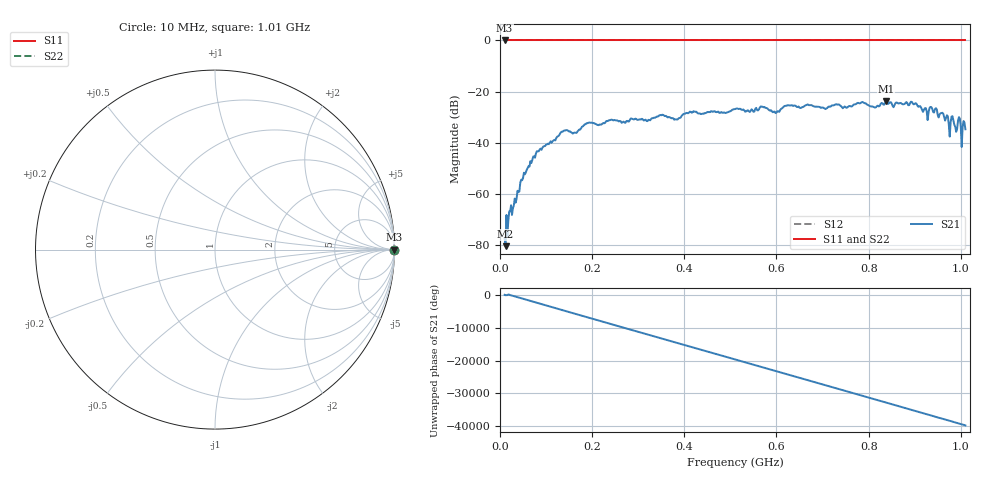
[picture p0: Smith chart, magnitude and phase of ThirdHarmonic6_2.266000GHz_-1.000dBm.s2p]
! 8/17/2025 2:50:06 AM
! C:\ANRITSUVNA\TEMP\TEMP.S2P
! CHANNEL.1
! TR.MEASUREMENT
! RAW.DATA
! RF.CORRECTION.OFF
! AVERAGING.OFF
! IF.BANDWIDTH: 5KHZ
! SWEEPTYPE:  FREQ.SWEEP(Linear)
! Reference Plane Port Info
! PORT:  PORT1  PORT2
! DISTANCE:  0  m  0  m
! TIME:  0  s  0  s
! PHASE.OFFSET:  0  deg.  0  deg.
! LOSS:  0  dB  0  dB
! REF.LOSS:  0  dB  0  dB
! REF.FREQ:  0  Hz  0  Hz
! Power Info
! POWER:  -20  dBm  -20  dBm
! EFF.POWER:  -20  dBm  -20  dBm
! SOURCE.ATTEN:  0  dB  0  dB
! TEST.ATTEN:  0  dB  0  dB
# GHZ S RI R 50.0
! FREQ.GHZ  S11RE  S11IM  S21RE  S21IM  S12RE  S12IM  S22RE  S22IM
!; PortSelection: Port_12
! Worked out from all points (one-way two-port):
!   501 points, 10 MHz to 1.01 GHz, reference 50 ohm
!   highest |S21| = -23.86 dB at 838 MHz (marker M1); lowest = -80.6 dB at 12 MHz (marker M2)
!   lowest |S11| = 0.0 dB at 10 MHz (marker M3)
!   |S11| at or under -10 dB: nowhere
!   |S22| runs from 0.0 to 0.0 dB; largest |S21 - S12| = 1.1
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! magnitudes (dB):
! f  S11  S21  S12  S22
! 10 MHz  0.0  -77.3  0.0  0.0
! 12 MHz  0.0  -80.6  0.0  0.0
! 18 MHz  0.0  -70.8  0.0  0.0
! 48 MHz  0.0  -54.8  0.0  0.0
! 76 MHz  0.0  -45.9  0.0  0.0
! 136 MHz  0.0  -35.7  0.0  0.0
! 178 MHz  0.0  -33.8  0.0  0.0
! 344 MHz  0.0  -29.6  0.0  0.0
! 382 MHz  0.0  -30.9  0.0  0.0
! 416 MHz  0.0  -28.3  0.0  0.0
! 510 MHz  0.0  -26.9  0.0  0.0
! 570 MHz  0.0  -26.0  0.0  0.0
! 596 MHz  0.0  -27.9  0.0  0.0
! 622 MHz  0.0  -25.6  0.0  0.0
! 678 MHz  0.0  -25.5  0.0  0.0
! 838 MHz  0.0  -23.9  0.0  0.0
! 844 MHz  0.0  -24.6  0.0  0.0
! 936 MHz  0.0  -26.1  0.0  0.0
! 974 MHz  0.0  -32.9  0.0  0.0
! 982 MHz  0.0  -29.7  0.0  0.0
! 988 MHz  0.0  -33.8  0.0  0.0
! 1.01 GHz  0.0  -34.8  0.0  0.0
